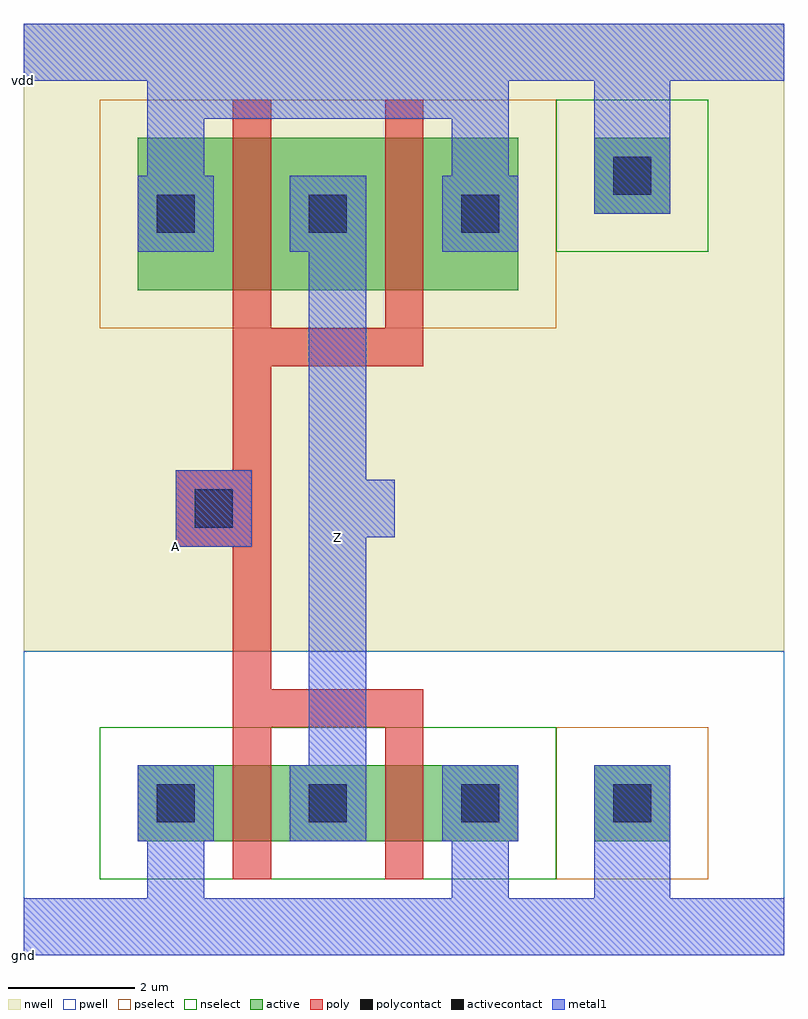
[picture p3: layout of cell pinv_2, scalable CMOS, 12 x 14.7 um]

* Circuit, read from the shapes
.subckt pinv_2 A Z gnd vdd
M1 Z A gnd gnd nfet w=1.2u l=0.6u m=2
M2 Z A vdd vdd pfet w=2.4u l=0.6u m=2
.ends

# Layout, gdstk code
import gdstk
lib = gdstk.Library(unit=1e-6, precision=1e-09)
def R(c, l, rs):  # rectangles x0, y0, x1, y1
    for r in rs: c.add(gdstk.rectangle(r[:2], r[2:], *l))
pwell = (41, 0)
nwell = (42, 0)
active = (43, 0)
pselect = (44, 0)
nselect = (45, 0)
poly = (46, 0)
polycontact = (47, 0)
activecontact = (48, 0)
metal1 = (49, 0)

active_contact_metal1_1x = lib.new_cell('active_contact_metal1_1x1_pn')
R(active_contact_metal1_1x, nwell, [(-1.8,-1.8,3,3), (-1.8,-1.8,3,3)])
R(active_contact_metal1_1x, active, [(0,0,1.2,1.2), (0,0,1.2,1.2)])
R(active_contact_metal1_1x, pselect, [(-0.6,-0.6,1.8,1.8), (-0.6,-0.6,1.8,1.8)])
R(active_contact_metal1_1x, activecontact, [(0.3,0.3,0.9,0.9), (0.3,0.3,0.9,0.9)])
R(active_contact_metal1_1x, metal1, [(0,0,1.2,1.2), (0,0,1.2,1.2)])

pmos_m2_w2_4_a_p = lib.new_cell('pmos_m2_w2_4_a_p')
R(pmos_m2_w2_4_a_p, nwell, [(-1.8,-1.8,7.8,4.2)])
R(pmos_m2_w2_4_a_p, active, [(0,0,6,2.4)])
R(pmos_m2_w2_4_a_p, pselect, [(-0.6,-0.6,6.6,3)])
R(pmos_m2_w2_4_a_p, poly, [(1.5,-1.2,4.5,-0.6), (1.5,-0.6,2.1,3), (3.9,-0.6,4.5,3)])
R(pmos_m2_w2_4_a_p, metal1, [(2.4,0.6,3.6,1.8), (0.15,1.2,1.05,3.15), (4.95,1.2,5.85,3.15), (0.15,2.7,5.85,3.6)])
pmos_m2_w2_4_a_p.add(gdstk.Reference(active_contact_metal1_1x, (0,0.6)))
pmos_m2_w2_4_a_p.add(gdstk.Reference(active_contact_metal1_1x, (4.8,0.6)))
pmos_m2_w2_4_a_p.add(gdstk.Reference(active_contact_metal1_1x, (2.4,0.6)))
pmos_m2_w2_4_a_p.add(gdstk.Label('S', (0.15,2.7), layer=49, texttype=0))
pmos_m2_w2_4_a_p.add(gdstk.Label('D', (2.4,0.6), layer=49, texttype=0))
pmos_m2_w2_4_a_p.add(gdstk.Label('G', (1.5,-1.2), layer=46, texttype=0))

c_active_contact_metal1_1x = lib.new_cell('active_contact_metal1_1x1_np')
R(c_active_contact_metal1_1x, pwell, [(-1.8,-1.8,3,3)])
R(c_active_contact_metal1_1x, active, [(0,0,1.2,1.2)])
R(c_active_contact_metal1_1x, nselect, [(-0.6,-0.6,1.8,1.8)])
R(c_active_contact_metal1_1x, activecontact, [(0.3,0.3,0.9,0.9)])
R(c_active_contact_metal1_1x, metal1, [(0,0,1.2,1.2)])

nmos_m2_w1_2_a_p = lib.new_cell('nmos_m2_w1_2_a_p')
R(nmos_m2_w1_2_a_p, pwell, [(-1.8,-1.8,7.8,3)])
R(nmos_m2_w1_2_a_p, active, [(0,0,6,1.2)])
R(nmos_m2_w1_2_a_p, nselect, [(-0.6,-0.6,6.6,1.8)])
R(nmos_m2_w1_2_a_p, poly, [(1.5,-0.6,2.1,1.8), (3.9,-0.6,4.5,1.8), (1.5,1.8,4.5,2.4)])
R(nmos_m2_w1_2_a_p, metal1, [(0.15,-1.8,5.85,-0.9), (0.15,-1.35,1.05,0.6), (4.95,-1.35,5.85,0.6), (2.4,0,3.6,1.2)])
nmos_m2_w1_2_a_p.add(gdstk.Reference(c_active_contact_metal1_1x, (0,0)))
nmos_m2_w1_2_a_p.add(gdstk.Reference(c_active_contact_metal1_1x, (4.8,0)))
nmos_m2_w1_2_a_p.add(gdstk.Reference(c_active_contact_metal1_1x, (2.4,0)))
nmos_m2_w1_2_a_p.add(gdstk.Label('S', (0.15,-1.8), layer=49, texttype=0))
nmos_m2_w1_2_a_p.add(gdstk.Label('D', (2.4,0), layer=49, texttype=0))
nmos_m2_w1_2_a_p.add(gdstk.Label('G', (1.5,1.8), layer=46, texttype=0))

c_active_contact_metal1_1x_ = lib.new_cell('active_contact_metal1_1x1_nn')
R(c_active_contact_metal1_1x_, nwell, [(-1.8,-1.8,3,3), (-1.8,-1.8,3,3)])
R(c_active_contact_metal1_1x_, active, [(0,0,1.2,1.2), (0,0,1.2,1.2)])
R(c_active_contact_metal1_1x_, nselect, [(-0.6,-0.6,1.8,1.8), (-0.6,-0.6,1.8,1.8)])
R(c_active_contact_metal1_1x_, activecontact, [(0.3,0.3,0.9,0.9), (0.3,0.3,0.9,0.9)])
R(c_active_contact_metal1_1x_, metal1, [(0,0,1.2,1.2), (0,0,1.2,1.2)])

c_active_contact_metal1_1x__ = lib.new_cell('active_contact_metal1_1x1_pp')
R(c_active_contact_metal1_1x__, pwell, [(-1.8,-1.8,3,3)])
R(c_active_contact_metal1_1x__, active, [(0,0,1.2,1.2)])
R(c_active_contact_metal1_1x__, pselect, [(-0.6,-0.6,1.8,1.8)])
R(c_active_contact_metal1_1x__, activecontact, [(0.3,0.3,0.9,0.9)])
R(c_active_contact_metal1_1x__, metal1, [(0,0,1.2,1.2)])

poly_contact_metal1_1x1 = lib.new_cell('poly_contact_metal1_1x1')
R(poly_contact_metal1_1x1, poly, [(0,0,1.2,1.2), (0,0,1.2,1.2)])
R(poly_contact_metal1_1x1, polycontact, [(0.3,0.3,0.9,0.9), (0.3,0.3,0.9,0.9)])
R(poly_contact_metal1_1x1, metal1, [(0,0,1.2,1.2), (0,0,1.2,1.2)])

pinv_2 = lib.new_cell('pinv_2')
R(pinv_2, pwell, [(0,-0.45,12,4.35)])
R(pinv_2, nwell, [(0,4.35,12,14.25)])
R(pinv_2, poly, [(3.3,3.15,3.9,8.85), (3,6,3.3,7.2)])
R(pinv_2, metal1, [(0,-0.45,12,0.45), (9,0,10.2,1.95), (4.5,1.35,5.4,10.65), (2.4,6,3.6,7.2), (4.95,6.15,5.85,7.05), (9,11.85,10.2,13.8), (0,13.35,12,14.25)])
pinv_2.add(gdstk.Reference(pmos_m2_w2_4_a_p, (1.8,10.05)))
pinv_2.add(gdstk.Reference(nmos_m2_w1_2_a_p, (1.8,1.35)))
pinv_2.add(gdstk.Reference(c_active_contact_metal1_1x_, (9,11.25)))
pinv_2.add(gdstk.Reference(c_active_contact_metal1_1x__, (9,1.35)))
pinv_2.add(gdstk.Reference(poly_contact_metal1_1x1, (2.4,6)))
pinv_2.add(gdstk.Label('A', (2.4,6), layer=49, texttype=0))
pinv_2.add(gdstk.Label('Z', (4.95,6.15), layer=49, texttype=0))
pinv_2.add(gdstk.Label('vdd', (0,13.35), layer=49, texttype=0))
pinv_2.add(gdstk.Label('gnd', (0,-0.45), layer=49, texttype=0))

lib.write_gds('pinv_2.gds')
